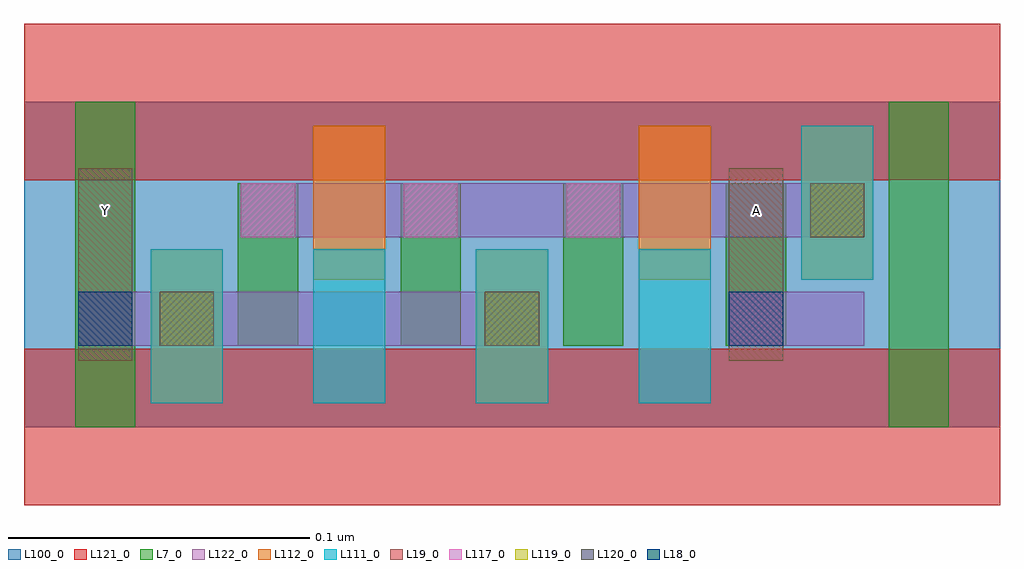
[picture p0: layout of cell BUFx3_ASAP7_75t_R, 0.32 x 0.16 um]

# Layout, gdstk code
import gdstk
lib = gdstk.Library(unit=1e-6, precision=2.5e-10)
def R(c, l, rs):  # rectangles x0, y0, x1, y1
    for r in rs: c.add(gdstk.rectangle(r[:2], r[2:], *l))
def A(c, l, x, y, w, h, nx, ny, dx, dy):  # array of equal rectangles
    R(c, l, [(x+i*dx, y+j*dy, x+i*dx+w, y+j*dy+h) for i in range(nx) for j in range(ny)])
L7_0 = (7, 0)
L18_0 = (18, 0)
L19_0 = (19, 0)
L100_0 = (100, 0)
L111_0 = (111, 0)
L112_0 = (112, 0)
L117_0 = (117, 0)
L119_0 = (119, 0)
L120_0 = (120, 0)
L121_0 = (121, 0)
L122_0 = (122, 0)

bufx3_asap7_75t_r = lib.new_cell('BUFx3_ASAP7_75t_R')
A(bufx3_asap7_75t_r, L7_0, 0.071, 0.027, 0.02, 0.054, 4, 1, 0.054, 0)
R(bufx3_asap7_75t_r, L7_0, [(0.017,0,0.037,0.108), (0.287,0,0.307,0.108)])
R(bufx3_asap7_75t_r, L18_0, [(0.018,0.027,0.036,0.045), (0.234,0.027,0.252,0.045)])
R(bufx3_asap7_75t_r, L19_0, [(0.018,0.022,0.036,0.086), (0.234,0.022,0.252,0.086)])
R(bufx3_asap7_75t_r, L100_0, [(0,0,0.324,0.108)])
A(bufx3_asap7_75t_r, L111_0, 0.042, 0.008, 0.024, 0.051, 4, 1, 0.054, 0)
R(bufx3_asap7_75t_r, L111_0, [(0.258,0.049,0.282,0.1)])
R(bufx3_asap7_75t_r, L112_0, [(0.042,0.008,0.066,0.059), (0.15,0.008,0.174,0.059), (0.096,0.049,0.12,0.1), (0.204,0.049,0.228,0.1), (0.258,0.049,0.282,0.1)])
A(bufx3_asap7_75t_r, L117_0, 0.072, 0.063, 0.018, 0.018, 3, 1, 0.054, 0)
R(bufx3_asap7_75t_r, L117_0, [(0.234,0.027,0.252,0.045)])
R(bufx3_asap7_75t_r, L119_0, [(0.045,0.027,0.063,0.045), (0.153,0.027,0.171,0.045), (0.261,0.063,0.279,0.081)])
R(bufx3_asap7_75t_r, L120_0, [(0.045,0.027,0.063,0.045), (0.153,0.027,0.171,0.045), (0.261,0.063,0.279,0.081)])
R(bufx3_asap7_75t_r, L121_0, [(0,-0.026,0.324,0.026), (0,0.082,0.324,0.134)])
R(bufx3_asap7_75t_r, L122_0, [(0.018,0.027,0.171,0.045), (0.234,0.027,0.279,0.045), (0.072,0.063,0.279,0.081)])
bufx3_asap7_75t_r.add(gdstk.Label('Y', (0.027,0.072), layer=19, texttype=251))
bufx3_asap7_75t_r.add(gdstk.Label('A', (0.243,0.072), layer=19, texttype=251))

lib.write_gds('BUFx3_ASAP7_75t_R.gds')
